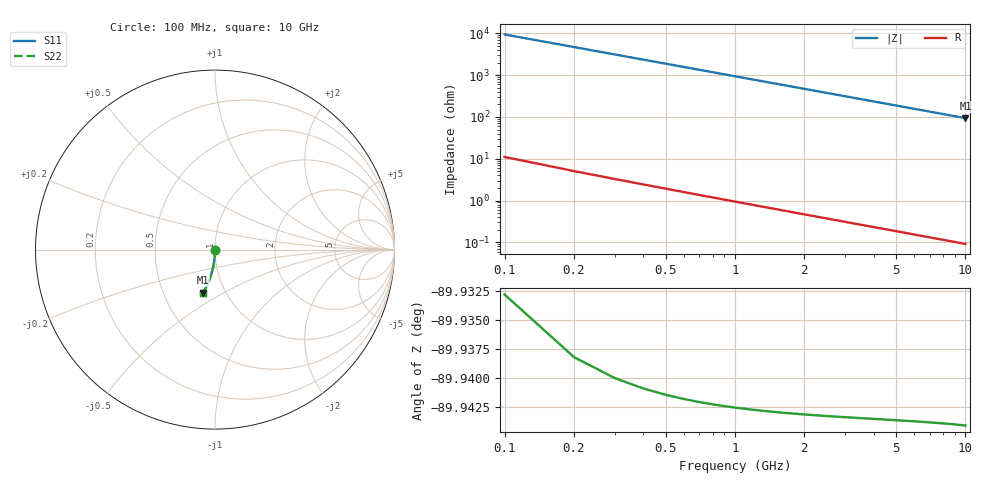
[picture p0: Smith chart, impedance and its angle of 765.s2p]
# Hz S RI R 50.00
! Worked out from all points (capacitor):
!   100 points, 100 MHz to 10 GHz, reference 50 ohm
!   read as one part in shunt: C = 169 fF near 100 MHz
!   lowest |Z| = 93.9 ohm at 10 GHz (marker M1)
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1e8  4.02e-05 -0.00257  0.9999 -0.00274  0.9999 -0.00274  4.02e-05 -0.00257
2e8  1.68e-05 -0.00514  0.9999 -0.00548  0.9999 -0.00548  1.68e-05 -0.00514
3e8  -2.07e-05 -0.00771  0.9999 -0.00821  0.9999 -0.00821  -2.07e-05 -0.00771
4e8  -7.24e-05 -0.0103  0.9998 -0.0109  0.9998 -0.0109  -7.24e-05 -0.0103
5e8  -0.000138 -0.0128  0.9998 -0.0137  0.9998 -0.0137  -0.000138 -0.0128
6e8  -0.000218 -0.0154  0.9997 -0.0164  0.9997 -0.0164  -0.000218 -0.0154
7e8  -0.000312 -0.018  0.9996 -0.0192  0.9996 -0.0192  -0.000312 -0.018
8e8  -0.00042 -0.0206  0.9995 -0.0219  0.9995 -0.0219  -0.00042 -0.0206
9e8  -0.000542 -0.0231  0.9994 -0.0246  0.9994 -0.0246  -0.000542 -0.0231
1.1e9  -0.000828 -0.0282  0.9991 -0.0301  0.9991 -0.0301  -0.000828 -0.0282
1.4e9  -0.00136 -0.0359  0.9985 -0.0383  0.9985 -0.0383  -0.00136 -0.0359
1.8e9  -0.00227 -0.0462  0.9976 -0.0492  0.9976 -0.0492  -0.00227 -0.0462
2.1e9  -0.0031 -0.0538  0.9968 -0.0573  0.9968 -0.0573  -0.0031 -0.0538
2.5e9  -0.0044 -0.064  0.9955 -0.0682  0.9955 -0.0682  -0.0044 -0.064
2.9e9  -0.00591 -0.0741  0.994 -0.079  0.994 -0.079  -0.00591 -0.0741
3.4e9  -0.00812 -0.0867  0.9918 -0.0924  0.9918 -0.0924  -0.00812 -0.0867
4.2e9  -0.0123 -0.1067  0.9875 -0.1138  0.9875 -0.1138  -0.0123 -0.1067
5.1e9  -0.0181 -0.1288  0.9817 -0.1374  0.9817 -0.1374  -0.0181 -0.1288
5.9e9  -0.0241 -0.1482  0.9757 -0.1581  0.9757 -0.1581  -0.0241 -0.1482
6.7e9  -0.0309 -0.1671  0.9689 -0.1784  0.9689 -0.1784  -0.0309 -0.1671
8.4e9  -0.0478 -0.206  0.952 -0.2201  0.952 -0.2201  -0.0478 -0.206
1e10  -0.0665 -0.2404  0.9332 -0.2574  0.9332 -0.2574  -0.0665 -0.2404
